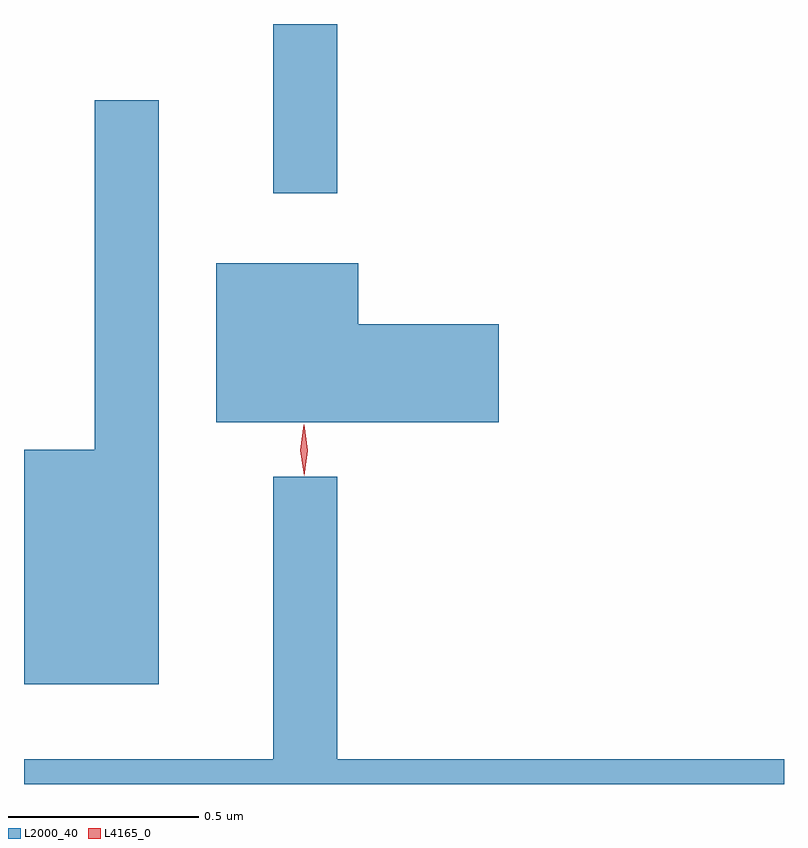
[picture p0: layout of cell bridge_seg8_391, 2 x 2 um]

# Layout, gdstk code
import gdstk
lib = gdstk.Library(unit=1e-6, precision=1e-09)
def R(c, l, rs):  # rectangles x0, y0, x1, y1
    for r in rs: c.add(gdstk.rectangle(r[:2], r[2:], *l))
def P(c, l, *ps):  # polygons
    for p in ps: c.add(gdstk.Polygon(p, *l))
L2000_40 = (2000, 40)
L4165_0 = (4165, 0)

bridge_seg8_391 = lib.new_cell('bridge_seg8_391')
R(bridge_seg8_391, L2000_40, [(627.821,1915.873,627.989,1916.319)])
P(bridge_seg8_391, L2000_40, [(627.519,1916.118),(627.351,1916.118),(627.351,1915.199),(627.165,1915.199),(627.165,1914.581),(627.519,1914.581)],
  [(628.414,1915.529),(628.044,1915.529),(628.044,1915.689),(627.671,1915.689),(627.671,1915.271),(628.414,1915.271)],
  [(629.165,1914.384),(627.989,1914.384),(627.989,1915.128),(627.821,1915.128),(627.821,1914.384),(627.165,1914.384),(627.165,1914.319),(629.165,1914.319)])
P(bridge_seg8_391, L4165_0, [(627.902,1915.13),(627.902,1915.13),(627.892,1915.197),(627.901,1915.264),(627.902,1915.265),(627.902,1915.264),(627.912,1915.197),(627.903,1915.13)],
  [(627.902,1915.133),(627.902,1915.134),(627.892,1915.196),(627.901,1915.258),(627.902,1915.258),(627.902,1915.258),(627.912,1915.196),(627.903,1915.134)])

lib.write_gds('bridge_seg8_391.gds')
